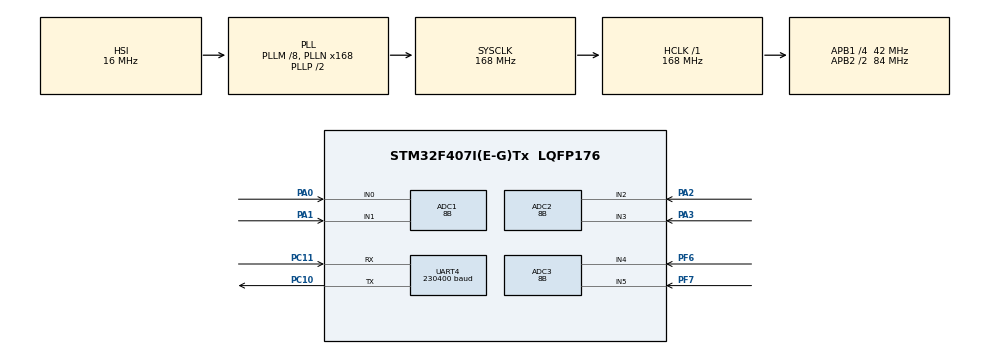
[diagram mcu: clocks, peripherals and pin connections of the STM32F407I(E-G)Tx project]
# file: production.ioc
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ADC1.Channel-0\#ChannelRegularConversion=ADC_CHANNEL_0
ADC1.Channel-1\#ChannelRegularConversion=ADC_CHANNEL_1
ADC1.ExternalTrigConv=ADC_SOFTWARE_START
ADC1.InjNumberOfConversion=0
ADC1.NbrOfConversion=2
ADC1.NbrOfConversionFlag=1
ADC1.Rank-0\#ChannelRegularConversion=1
ADC1.Rank-1\#ChannelRegularConversion=2
ADC1.Resolution=ADC_RESOLUTION_8B
ADC1.SamplingTime-0\#ChannelRegularConversion=ADC_SAMPLETIME_15CYCLES
ADC1.SamplingTime-1\#ChannelRegularConversion=ADC_SAMPLETIME_15CYCLES
ADC1.master=1
ADC2.Channel-1\#ChannelRegularConversion=ADC_CHANNEL_2
ADC2.Channel-2\#ChannelRegularConversion=ADC_CHANNEL_3
ADC2.ExternalTrigConv=ADC_SOFTWARE_START
ADC2.NbrOfConversion=2
ADC2.NbrOfConversionFlag=1
ADC2.Rank-1\#ChannelRegularConversion=1
ADC2.Rank-2\#ChannelRegularConversion=2
ADC2.Resolution=ADC_RESOLUTION_8B
ADC2.SamplingTime-1\#ChannelRegularConversion=ADC_SAMPLETIME_3CYCLES
ADC2.SamplingTime-2\#ChannelRegularConversion=ADC_SAMPLETIME_3CYCLES
ADC3.Channel-0\#ChannelRegularConversion=ADC_CHANNEL_4
ADC3.Channel-1\#ChannelRegularConversion=ADC_CHANNEL_5
ADC3.ExternalTrigConv=ADC_SOFTWARE_START
ADC3.NbrOfConversion=2
ADC3.NbrOfConversionFlag=1
ADC3.Rank-0\#ChannelRegularConversion=1
ADC3.Rank-1\#ChannelRegularConversion=2
ADC3.Resolution=ADC_RESOLUTION_8B
ADC3.SamplingTime-0\#ChannelRegularConversion=ADC_SAMPLETIME_3CYCLES
ADC3.SamplingTime-1\#ChannelRegularConversion=ADC_SAMPLETIME_3CYCLES
Dma.ADC1.0.Direction=DMA_PERIPH_TO_MEMORY
Dma.ADC1.0.FIFOMode=DMA_FIFOMODE_DISABLE
Dma.ADC1.0.Instance=DMA2_Stream0
Dma.ADC1.0.MemDataAlignment=DMA_MDATAALIGN_WORD
Dma.ADC1.0.MemInc=DMA_MINC_ENABLE
Dma.ADC1.0.Mode=DMA_CIRCULAR
Dma.ADC1.0.PeriphDataAlignment=DMA_PDATAALIGN_WORD
Dma.ADC1.0.PeriphInc=DMA_PINC_DISABLE
Dma.ADC1.0.Priority=DMA_PRIORITY_VERY_HIGH
Dma.ADC2.3.Direction=DMA_PERIPH_TO_MEMORY
Dma.ADC2.3.FIFOMode=DMA_FIFOMODE_DISABLE
Dma.ADC2.3.Instance=DMA2_Stream2
Dma.ADC2.3.MemDataAlignment=DMA_MDATAALIGN_WORD
Dma.ADC2.3.MemInc=DMA_MINC_ENABLE
Dma.ADC2.3.Mode=DMA_CIRCULAR
Dma.ADC2.3.PeriphDataAlignment=DMA_PDATAALIGN_WORD
Dma.ADC2.3.PeriphInc=DMA_PINC_DISABLE
Dma.ADC2.3.Priority=DMA_PRIORITY_VERY_HIGH
Dma.ADC3.4.Direction=DMA_PERIPH_TO_MEMORY
Dma.ADC3.4.FIFOMode=DMA_FIFOMODE_DISABLE
Dma.ADC3.4.Instance=DMA2_Stream1
Dma.ADC3.4.MemDataAlignment=DMA_MDATAALIGN_WORD
Dma.ADC3.4.MemInc=DMA_MINC_ENABLE
Dma.ADC3.4.Mode=DMA_CIRCULAR
Dma.ADC3.4.PeriphDataAlignment=DMA_PDATAALIGN_WORD
Dma.ADC3.4.PeriphInc=DMA_PINC_DISABLE
Dma.ADC3.4.Priority=DMA_PRIORITY_VERY_HIGH
Dma.Request0=ADC1
Dma.Request1=UART4_TX
Dma.Request2=UART4_RX
Dma.Request3=ADC2
Dma.Request4=ADC3
Dma.UART4_RX.2.Direction=DMA_PERIPH_TO_MEMORY
Dma.UART4_RX.2.FIFOMode=DMA_FIFOMODE_DISABLE
Dma.UART4_RX.2.Instance=DMA1_Stream2
Dma.UART4_RX.2.MemDataAlignment=DMA_MDATAALIGN_BYTE
Dma.UART4_RX.2.MemInc=DMA_MINC_ENABLE
Dma.UART4_RX.2.Mode=DMA_NORMAL
Dma.UART4_RX.2.PeriphDataAlignment=DMA_PDATAALIGN_BYTE
Dma.UART4_RX.2.PeriphInc=DMA_PINC_DISABLE
Dma.UART4_RX.2.Priority=DMA_PRIORITY_HIGH
Dma.UART4_TX.1.Direction=DMA_MEMORY_TO_PERIPH
Dma.UART4_TX.1.FIFOMode=DMA_FIFOMODE_DISABLE
Dma.UART4_TX.1.Instance=DMA1_Stream4
Dma.UART4_TX.1.MemDataAlignment=DMA_MDATAALIGN_BYTE
Dma.UART4_TX.1.MemInc=DMA_MINC_ENABLE
Dma.UART4_TX.1.Mode=DMA_CIRCULAR
Dma.UART4_TX.1.PeriphDataAlignment=DMA_PDATAALIGN_BYTE
Dma.UART4_TX.1.PeriphInc=DMA_PINC_DISABLE
Dma.UART4_TX.1.Priority=DMA_PRIORITY_HIGH
Mcu.Family=STM32F4
Mcu.Name=STM32F407I(E-G)Tx
Mcu.Package=LQFP176
NVIC.DMA1_Stream4_IRQn=true\:2\:0\:true\:false\:true\:false\:true\:true
NVIC.DMA2_Stream0_IRQn=true\:0\:0\:false\:false\:true\:false\:true\:true
NVIC.PriorityGroup=NVIC_PRIORITYGROUP_4
NVIC.TIM2_IRQn=true\:4\:0\:true\:false\:true\:true\:true\:true
PA0-WKUP.Signal=ADCx_IN0
PA1.Signal=ADCx_IN1
PA13.Mode=Serial_Wire
PA13.Signal=SYS_JTMS-SWDIO
PA14.Mode=Serial_Wire
PA14.Signal=SYS_JTCK-SWCLK
PA2.Signal=ADCx_IN2
PA3.Signal=ADCx_IN3
PC10.Mode=Asynchronous
PC10.Signal=UART4_TX
PC11.Mode=Asynchronous
PC11.Signal=UART4_RX
PF6.Mode=IN4
PF6.Signal=ADC3_IN4
PF7.Mode=IN5
PF7.Signal=ADC3_IN5
PH0-OSC_IN.Mode=HSE-External-Oscillator
PH0-OSC_IN.Signal=RCC_OSC_IN
PH1-OSC_OUT.Mode=HSE-External-Oscillator
PH1-OSC_OUT.Signal=RCC_OSC_OUT
ProjectManager.HeapSize=0x200
ProjectManager.StackSize=0x400
ProjectManager.TargetToolchain=STM32CubeIDE
RCC.48MHZClocksFreq_Value=84000000
RCC.AHBFreq_Value=168000000
RCC.APB1CLKDivider=RCC_HCLK_DIV4
RCC.APB1Freq_Value=42000000
RCC.APB1TimFreq_Value=84000000
RCC.APB2CLKDivider=RCC_HCLK_DIV2
RCC.APB2Freq_Value=84000000
RCC.APB2TimFreq_Value=168000000
RCC.CortexFreq_Value=168000000
RCC.HCLKFreq_Value=168000000
RCC.HSE_VALUE=25000000
RCC.HSI_VALUE=16000000
RCC.LSE_VALUE=32768
RCC.PLLM=8
RCC.PLLN=168
RCC.SYSCLKFreq_VALUE=168000000
RCC.SYSCLKSource=RCC_SYSCLKSOURCE_PLLCLK
RCC.VCOOutputFreq_Value=336000000
SH.ADCx_IN0.0=ADC1_IN0,IN0
SH.ADCx_IN1.0=ADC1_IN1,IN1
SH.ADCx_IN2.0=ADC2_IN2,IN2
SH.ADCx_IN3.0=ADC2_IN3,IN3
TIM1.Prescaler=167
TIM2.AutoReloadPreload=TIM_AUTORELOAD_PRELOAD_ENABLE
TIM2.Period=312
TIM2.Prescaler=168
TIM4.Prescaler=168
UART4.BaudRate=230400
UART4.VirtualMode=Asynchronous
VP_TIM1_VS_ClockSourceINT.Mode=Internal
VP_TIM2_VS_ClockSourceINT.Mode=Internal
VP_TIM4_VS_ClockSourceINT.Mode=Internal
board=custom

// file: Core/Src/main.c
/* USER CODE BEGIN Header */
/*
 * timer1 for delay us
 * timer2 for sampling
 * */
/* USER CODE END Header */
#include "main.h"

/* USER CODE BEGIN Includes */
#include "arm_math.h"
#include "math.h"
#include <stdbool.h>
#include "FLASH_SECTOR_F4.h"
#include "stdio.h"
#include <stdlib.h>
/* USER CODE END Includes */

/* USER CODE BEGIN PD */
#define ARM_MATH_CM4

#define SAMPLE_BUFFER_LENGTH        64
#define SAMPLE_BUFFER_LENGTH_HALF   (SAMPLE_BUFFER_LENGTH/2)
#define CURRENT_1 ADC_CHANNEL_0
#define CURRENT_2 ADC_CHANNEL_1
#define CURRENT_3 ADC_CHANNEL_2

#define VOLTAGE_1 ADC_CHANNEL_3
#define VOLTAGE_2 ADC_CHANNEL_4
#define VOLTAGE_3 ADC_CHANNEL_5

#define TEMP ADC_CHANNEL_6
#define ERTEASH ADC_CHANNEL_7

#define approximation 1e-5
// fft
#define fftElementSendCount 50
#define  instantaneousElementSendCount 32
#define data_unit_size 7 // xxx.xx,

#define FlashAddress 0x080FAEC0
#define ratedVoltageAddress  FlashAddress+(0*0x32)
#define ratedCurrentAddress FlashAddress+(1*0x32)

/* USER CODE END PD */

ADC_HandleTypeDef hadc1;
ADC_HandleTypeDef hadc2;
ADC_HandleTypeDef hadc3;
DMA_HandleTypeDef hdma_adc1;
DMA_HandleTypeDef hdma_adc2;
DMA_HandleTypeDef hdma_adc3;

TIM_HandleTypeDef htim1;
TIM_HandleTypeDef htim2;
TIM_HandleTypeDef htim4;

UART_HandleTypeDef huart4;
DMA_HandleTypeDef hdma_uart4_tx;
DMA_HandleTypeDef hdma_uart4_rx;

/* USER CODE BEGIN PV */
int elementNumber = 0;

struct adcValue {
    float instantaneousValues[SAMPLE_BUFFER_LENGTH];
    char instantaneousValuesCharArray[SAMPLE_BUFFER_LENGTH];
    float fft[SAMPLE_BUFFER_LENGTH_HALF];
    char fft_char_array[(fftElementSendCount * data_unit_size) + 2]; // [fft_array]
    float rms;
    float thd;
};

struct errorsStruct {
    bool voltageRmsError;
    int voltageRmsTimeout;

    bool currentRmsError;
    int currentRmsTimeout;

    bool voltageHarmonicOverLimit;
    char errorPhase[2];
} errors;
struct errorsStruct errors = {false, 0,
                              false, 0,
                              false};

struct adcValue c1, c2, c3, v1, v2, v3;
uint32_t adcResult1[2], adcResult2[2], adcResult3[2];

float settings[100];

uint8_t Rx_data[30] = {0};
uint8_t MESSAGE_LEN = sizeof(Rx_data);
bool new_request = false;

float fft_output[SAMPLE_BUFFER_LENGTH];
uint8_t ifftFlag = 0;

uint32_t time1, time2, result;

/* USER CODE END PV */

void SystemClock_Config(void);

static void MX_GPIO_Init(void);

static void MX_DMA_Init(void);

static void MX_ADC1_Init(void);

static void MX_TIM1_Init(void);

static void MX_TIM2_Init(void);

static void MX_UART4_Init(void);

static void MX_ADC2_Init(void);

static void MX_ADC3_Init(void);

static void MX_TIM4_Init(void);

/* USER CODE BEGIN 0 */

//utils
void readParamsFromMemory() {
    for (int i = 0; i < 100; ++i) {
        settings[i] = Flash_Read_NUM(FlashAddress + (i * 0x32));
    }
}

void writeParamsToMemory() {
    Flash_Write_NUM(ratedVoltageAddress, settings[0]);
    Flash_Write_NUM(ratedCurrentAddress, settings[1]);
}

// serial
void HAL_UART_RxCpltCallback(UART_HandleTypeDef *huart) {
    HAL_UART_Receive_IT(&huart4, Rx_data, MESSAGE_LEN);
    new_request = true;
}

void HAL_UART_TxCpltCallback(UART_HandleTypeDef *huart) {
    HAL_UART_DMAStop(&huart4);
}

bool str_cmp_rx_data(char str2[]) {
    int size = sizeof(str2);
    for (int i = 0; i < size; i++) {
        if (Rx_data[i] != str2[i]) { return false; };
    }
    return true;
}

void floatArrToList(char *dest, float *numbers, int array_size, int step) {
    char tempStr[9] = {"\0"};
    int usedLength = 0;
    int tempLength;
    for (int i = 0; i < array_size; i += step) {
        tempLength = sprintf(tempStr, "%.2f,", numbers[i]);
        sprintf(dest + usedLength, "%s", tempStr);
        usedLength = usedLength + tempLength;
    }
    dest[usedLength - 1] = '\0';
}

void floatArrToListInstantaneousValues() {
    floatArrToList(c1.instantaneousValuesCharArray, c1.instantaneousValues, SAMPLE_BUFFER_LENGTH,
                   SAMPLE_BUFFER_LENGTH / instantaneousElementSendCount);
    floatArrToList(c2.instantaneousValuesCharArray, c2.instantaneousValues, SAMPLE_BUFFER_LENGTH,
                   SAMPLE_BUFFER_LENGTH / instantaneousElementSendCount);
    floatArrToList(c3.instantaneousValuesCharArray, c3.instantaneousValues, SAMPLE_BUFFER_LENGTH,
                   SAMPLE_BUFFER_LENGTH / instantaneousElementSendCount);
    floatArrToList(v1.instantaneousValuesCharArray, v1.instantaneousValues, SAMPLE_BUFFER_LENGTH,
                   SAMPLE_BUFFER_LENGTH / instantaneousElementSendCount);
    floatArrToList(v2.instantaneousValuesCharArray, v2.instantaneousValues, SAMPLE_BUFFER_LENGTH,
                   SAMPLE_BUFFER_LENGTH / instantaneousElementSendCount);
    floatArrToList(v3.instantaneousValuesCharArray, v3.instantaneousValues, SAMPLE_BUFFER_LENGTH,
                   SAMPLE_BUFFER_LENGTH / instantaneousElementSendCount);
}

void floatArrToListFft() {
    floatArrToList(c1.fft_char_array, c1.fft, fftElementSendCount, 1);
    floatArrToList(c2.fft_char_array, c2.fft, fftElementSendCount, 1);
    floatArrToList(c3.fft_char_array, c3.fft, fftElementSendCount, 1);
    floatArrToList(v1.fft_char_array, v1.fft, fftElementSendCount, 1);
    floatArrToList(v2.fft_char_array, v2.fft, fftElementSendCount, 1);
    floatArrToList(v3.fft_char_array, v3.fft, fftElementSendCount, 1);
}

void stringToArrayReceivedSettings() {

    char *token = strtok(Rx_data, ","); //remove saveSettings
    token = strtok(NULL, ","); // number1 ...
    int i = 0;
    while (token[i] != NULL) {
        settings[i] = atof(token);
        token = strtok(NULL, ",");
        i++;
    }
}

void sendRealTimeData() {
    char buffer[5000] = {'\0'};
    char *fromat = "{"
                   "\"type\":\"RealTimeData\","
                   "\"current\":"
                   "{\"a\":[%s],"
                   "\"b\":[%s],"
                   "\"c\":[%s]},"
                   "\"voltage\":"
                   "{\"a\":[%s],"
                   "\"b\":[%s],"
                   "\"c\":[%s]}"
                   "}\r\n";
    snprintf(buffer, sizeof(buffer), fromat,
             c1.instantaneousValuesCharArray,
             c2.instantaneousValuesCharArray,
             c3.instantaneousValuesCharArray,
             v1.instantaneousValuesCharArray,
             v2.instantaneousValuesCharArray,
             v3.instantaneousValuesCharArray
    );
    HAL_UART_Transmit_DMA(&huart4, buffer, sizeof(buffer));
}

static void send_serial() {
     uint8_t buffer[5000] = {'\0'};
    memset(buffer, ' ', sizeof(buffer));
    if (str_cmp_rx_data("send_data")) {
        static char *fromat = "{"
                              "\"type\":\"calculatedData\","
                              "\"current\":"
                              "{\"a\":{\"rms\":%.2f,\"thd\":%.2f,\"fft\":[%s]},"
                              "\"b\":{\"rms\":%.2f,\"thd\":%.2f,\"fft\":[%s]},"
                              "\"c\":{\"rms\":%.2f,\"thd\":%.2f,\"fft\":[%s]}},"
                              "\"voltage\":"
                              "{\"a\":{\"rms\":%.2f,\"thd\":%.2f,\"fft\":[%s]},"
                              "\"b\":{\"rms\":%.2f,\"thd\":%.2f,\"fft\":[%s]},"
                              "\"c\":{\"rms\":%.2f,\"thd\":%.2f,\"fft\":[%s]}}"
                              "}\r\n";
        snprintf(buffer, sizeof(buffer), fromat,
                /*rms-thd-fft*/
                 c1.rms, c1.thd, c1.fft_char_array,
                 c2.rms, c2.thd, c2.fft_char_array,
                 c3.rms, c3.thd, c3.fft_char_array,
                 v1.rms, v1.thd, v1.fft_char_array,
                 v2.rms, v2.thd, v2.fft_char_array,
                 v3.rms, v3.thd, v3.fft_char_array);
    } else if (str_cmp_rx_data("saveSettings")) {
        stringToArrayReceivedSettings();
        writeParamsToMemory();
        strcpy(buffer, "OK\r\n");
    } else if (str_cmp_rx_data("ping")) {
        strcpy(buffer, "pong\r\n");
    } else {
        strcpy(buffer, "404\r\n");
    }

    HAL_UART_Transmit_DMA(&huart4, buffer, sizeof(buffer));
    new_request = false;
}

// adc
void selectChannel(uint32_t ch) {
    ADC_ChannelConfTypeDef conf = {
            .Channel = ch,
            .Rank = 1,
            .SamplingTime = ADC_SAMPLETIME_15CYCLES,
    };
    if (HAL_ADC_ConfigChannel(&hadc1, &conf) != HAL_OK) {
        Error_Handler();
    }
}

void HAL_ADC_ConvCpltCallback(ADC_HandleTypeDef *hadc) {

}

void convertAdcValue(uint32_t adcResult, float *element) {
    *element = adcResult * 3.3 / 255;
}

//timer
void HAL_TIM_PeriodElapsedCallback(TIM_HandleTypeDef *htim) {
    HAL_ADC_Start_DMA(&hadc1, adcResult1, 2);
    HAL_ADC_Start_DMA(&hadc2, adcResult2, 2);
    HAL_ADC_Start_DMA(&hadc3, adcResult3, 2);
    convertAdcValue(adcResult1[0], &c1.instantaneousValues[elementNumber]);
    convertAdcValue(adcResult2[0], &c2.instantaneousValues[elementNumber]);
    convertAdcValue(adcResult3[0], &c3.instantaneousValues[elementNumber]);
    convertAdcValue(adcResult1[1], &v1.instantaneousValues[elementNumber]);
    convertAdcValue(adcResult2[1], &v2.instantaneousValues[elementNumber]);
    convertAdcValue(adcResult3[1], &v3.instantaneousValues[elementNumber]);
    elementNumber++;
    if (elementNumber >= SAMPLE_BUFFER_LENGTH) {
        elementNumber = 0;
    }
}

// calculation
void doFft(float input[], float output[]) {
    arm_status status;
    arm_rfft_fast_instance_f32 fft;
    status = arm_rfft_fast_init_f32(&fft, SAMPLE_BUFFER_LENGTH);
    arm_rfft_fast_f32(&fft, input, fft_output, ifftFlag);
    arm_cmplx_mag_f32(fft_output, output, SAMPLE_BUFFER_LENGTH_HALF);
    for (int i = 0; i < SAMPLE_BUFFER_LENGTH_HALF; i++) {
        output[i] = output[i] / SAMPLE_BUFFER_LENGTH_HALF;
        if (output[i] < approximation)output[i] = 0;
    }
}

void doThd(float input[], float output) {
    float temp = 0;
    for (int i = 2; i < SAMPLE_BUFFER_LENGTH_HALF; i++) {
        temp = temp + (pow(input[i], 2));
    }
    output = sqrt(temp) * 100 / input[1];
}

void calculation() {
    // rms
    arm_rms_f32(c1.instantaneousValues, SAMPLE_BUFFER_LENGTH, &c1.rms);
    arm_rms_f32(c2.instantaneousValues, SAMPLE_BUFFER_LENGTH, &c2.rms);
    arm_rms_f32(c3.instantaneousValues, SAMPLE_BUFFER_LENGTH, &c3.rms);

    arm_rms_f32(v1.instantaneousValues, SAMPLE_BUFFER_LENGTH, &v1.rms);
    arm_rms_f32(v2.instantaneousValues, SAMPLE_BUFFER_LENGTH, &v2.rms);
    arm_rms_f32(v3.instantaneousValues, SAMPLE_BUFFER_LENGTH, &v3.rms);
    // fft
    doFft(c1.instantaneousValues, c1.fft);
    doFft(c2.instantaneousValues, c2.fft);
    doFft(c3.instantaneousValues, c3.fft);

    doFft(v1.instantaneousValues, v1.fft);
    doFft(v2.instantaneousValues, v2.fft);
    doFft(v3.instantaneousValues, v3.fft);
    // thd
    doThd(c1.fft, c1.thd);
    doThd(c2.fft, c2.thd);
    doThd(c3.fft, c3.thd);

    doThd(v1.fft, v1.thd);
    doThd(v2.fft, v2.thd);
    doThd(v3.fft, v3.thd);
}

void currentRmsControl() {}

void voltageRmsControl() {}

void voltageHarmonicControl() {}

void control() {
    voltageRmsControl();
    currentRmsControl();
    voltageHarmonicControl();
}

/* USER CODE END 0 */

int main(void) {

    /* MCU Configuration--------------------------------------------------------*/

    /* Reset of all peripherals, Initializes the Flash interface and the Systick. */
    HAL_Init();

    /* Configure the system clock */
    SystemClock_Config();

    /* Initialize all configured peripherals */
    MX_GPIO_Init();
    MX_DMA_Init();
    MX_ADC1_Init();
    MX_TIM1_Init();
    MX_TIM2_Init();
    MX_UART4_Init();
    MX_ADC2_Init();
    MX_ADC3_Init();
    MX_TIM4_Init();
    /* USER CODE BEGIN 2 */
    //start timer,uart and interupts
    HAL_UART_Receive_IT(&huart4, Rx_data, MESSAGE_LEN);
    readParamsFromMemory();
    HAL_TIM_Base_Start(&htim1);
    HAL_TIM_Base_Start_IT(&htim2);
    /* USER CODE END 2 */

    /* Infinite loop */
    while (1) {

        /* USER CODE BEGIN 3 */
        HAL_UART_Receive_IT(&huart4, Rx_data, MESSAGE_LEN);
//        TIM4->CNT = 0;
//        HAL_TIM_Base_Start(&htim4);
//        time1 = __HAL_TIM_GET_COUNTER(&htim4);
        floatArrToListInstantaneousValues();
        sendRealTimeData();
//        time2 = __HAL_TIM_GET_COUNTER(&htim4);
//        result = time2 - time1;
        calculation();
        control();
        floatArrToListFft();
        if (new_request) {
            send_serial();
        }
//        str_append_float(&c1);
        HAL_UART_AbortReceive_IT(&huart4);
        HAL_TIM_Base_Start_IT(&htim2);
    }
    /* USER CODE END 3 */
}

void SystemClock_Config(void) {
    RCC_OscInitTypeDef RCC_OscInitStruct = {0};
    RCC_ClkInitTypeDef RCC_ClkInitStruct = {0};

    /** Configure the main internal regulator output voltage
    */
    __HAL_RCC_PWR_CLK_ENABLE();
    __HAL_PWR_VOLTAGESCALING_CONFIG(PWR_REGULATOR_VOLTAGE_SCALE1);

    /** Initializes the RCC Oscillators according to the specified parameters
    * in the RCC_OscInitTypeDef structure.
    */
    RCC_OscInitStruct.OscillatorType = RCC_OSCILLATORTYPE_HSI;
    RCC_OscInitStruct.HSIState = RCC_HSI_ON;
    RCC_OscInitStruct.HSICalibrationValue = RCC_HSICALIBRATION_DEFAULT;
    RCC_OscInitStruct.PLL.PLLState = RCC_PLL_ON;
    RCC_OscInitStruct.PLL.PLLSource = RCC_PLLSOURCE_HSI;
    RCC_OscInitStruct.PLL.PLLM = 8;
    RCC_OscInitStruct.PLL.PLLN = 168;
    RCC_OscInitStruct.PLL.PLLP = RCC_PLLP_DIV2;
    RCC_OscInitStruct.PLL.PLLQ = 4;
    if (HAL_RCC_OscConfig(&RCC_OscInitStruct) != HAL_OK) {
        Error_Handler();
    }

    /** Initializes the CPU, AHB and APB buses clocks
    */
    RCC_ClkInitStruct.ClockType = RCC_CLOCKTYPE_HCLK | RCC_CLOCKTYPE_SYSCLK
                                  | RCC_CLOCKTYPE_PCLK1 | RCC_CLOCKTYPE_PCLK2;
    RCC_ClkInitStruct.SYSCLKSource = RCC_SYSCLKSOURCE_PLLCLK;
    RCC_ClkInitStruct.AHBCLKDivider = RCC_SYSCLK_DIV1;
    RCC_ClkInitStruct.APB1CLKDivider = RCC_HCLK_DIV4;
    RCC_ClkInitStruct.APB2CLKDivider = RCC_HCLK_DIV2;

    if (HAL_RCC_ClockConfig(&RCC_ClkInitStruct, FLASH_LATENCY_5) != HAL_OK) {
        Error_Handler();
    }
}

static void MX_ADC1_Init(void) {

    ADC_ChannelConfTypeDef sConfig = {0};

    /** Configure the global features of the ADC (Clock, Resolution, Data Alignment and number of conversion)
    */
    hadc1.Instance = ADC1;
    hadc1.Init.ClockPrescaler = ADC_CLOCK_SYNC_PCLK_DIV4;
    hadc1.Init.Resolution = ADC_RESOLUTION_8B;
    hadc1.Init.ScanConvMode = ENABLE;
    hadc1.Init.ContinuousConvMode = DISABLE;
    hadc1.Init.DiscontinuousConvMode = DISABLE;
    hadc1.Init.ExternalTrigConvEdge = ADC_EXTERNALTRIGCONVEDGE_NONE;
    hadc1.Init.ExternalTrigConv = ADC_SOFTWARE_START;
    hadc1.Init.DataAlign = ADC_DATAALIGN_RIGHT;
    hadc1.Init.NbrOfConversion = 2;
    hadc1.Init.DMAContinuousRequests = DISABLE;
    hadc1.Init.EOCSelection = ADC_EOC_SINGLE_CONV;
    if (HAL_ADC_Init(&hadc1) != HAL_OK) {
        Error_Handler();
    }

    /** Configure for the selected ADC regular channel its corresponding rank in the sequencer and its sample time.
    */
    sConfig.Channel = ADC_CHANNEL_0;
    sConfig.Rank = 1;
    sConfig.SamplingTime = ADC_SAMPLETIME_15CYCLES;
    if (HAL_ADC_ConfigChannel(&hadc1, &sConfig) != HAL_OK) {
        Error_Handler();
    }

    /** Configure for the selected ADC regular channel its corresponding rank in the sequencer and its sample time.
    */
    sConfig.Channel = ADC_CHANNEL_1;
    sConfig.Rank = 2;
    if (HAL_ADC_ConfigChannel(&hadc1, &sConfig) != HAL_OK) {
        Error_Handler();
    }

}

static void MX_ADC2_Init(void) {

    ADC_ChannelConfTypeDef sConfig = {0};

    /** Configure the global features of the ADC (Clock, Resolution, Data Alignment and number of conversion)
    */
    hadc2.Instance = ADC2;
    hadc2.Init.ClockPrescaler = ADC_CLOCK_SYNC_PCLK_DIV4;
    hadc2.Init.Resolution = ADC_RESOLUTION_8B;
    hadc2.Init.ScanConvMode = ENABLE;
    hadc2.Init.ContinuousConvMode = DISABLE;
    hadc2.Init.DiscontinuousConvMode = DISABLE;
    hadc2.Init.ExternalTrigConvEdge = ADC_EXTERNALTRIGCONVEDGE_NONE;
    hadc2.Init.ExternalTrigConv = ADC_SOFTWARE_START;
    hadc2.Init.DataAlign = ADC_DATAALIGN_RIGHT;
    hadc2.Init.NbrOfConversion = 2;
    hadc2.Init.DMAContinuousRequests = DISABLE;
    hadc2.Init.EOCSelection = ADC_EOC_SINGLE_CONV;
    if (HAL_ADC_Init(&hadc2) != HAL_OK) {
        Error_Handler();
    }

    /** Configure for the selected ADC regular channel its corresponding rank in the sequencer and its sample time.
    */
    sConfig.Channel = ADC_CHANNEL_2;
    sConfig.Rank = 1;
    sConfig.SamplingTime = ADC_SAMPLETIME_3CYCLES;
    if (HAL_ADC_ConfigChannel(&hadc2, &sConfig) != HAL_OK) {
        Error_Handler();
    }

    /** Configure for the selected ADC regular channel its corresponding rank in the sequencer and its sample time.
    */
    sConfig.Channel = ADC_CHANNEL_3;
    sConfig.Rank = 2;
    if (HAL_ADC_ConfigChannel(&hadc2, &sConfig) != HAL_OK) {
        Error_Handler();
    }

}

static void MX_ADC3_Init(void) {

    ADC_ChannelConfTypeDef sConfig = {0};

    /** Configure the global features of the ADC (Clock, Resolution, Data Alignment and number of conversion)
    */
    hadc3.Instance = ADC3;
    hadc3.Init.ClockPrescaler = ADC_CLOCK_SYNC_PCLK_DIV4;
    hadc3.Init.Resolution = ADC_RESOLUTION_8B;
    hadc3.Init.ScanConvMode = ENABLE;
    hadc3.Init.ContinuousConvMode = DISABLE;
    hadc3.Init.DiscontinuousConvMode = DISABLE;
    hadc3.Init.ExternalTrigConvEdge = ADC_EXTERNALTRIGCONVEDGE_NONE;
    hadc3.Init.ExternalTrigConv = ADC_SOFTWARE_START;
    hadc3.Init.DataAlign = ADC_DATAALIGN_RIGHT;
    hadc3.Init.NbrOfConversion = 2;
    hadc3.Init.DMAContinuousRequests = DISABLE;
    hadc3.Init.EOCSelection = ADC_EOC_SINGLE_CONV;
    if (HAL_ADC_Init(&hadc3) != HAL_OK) {
        Error_Handler();
    }

    /** Configure for the selected ADC regular channel its corresponding rank in the sequencer and its sample time.
    */
    sConfig.Channel = ADC_CHANNEL_4;
    sConfig.Rank = 1;
    sConfig.SamplingTime = ADC_SAMPLETIME_3CYCLES;
    if (HAL_ADC_ConfigChannel(&hadc3, &sConfig) != HAL_OK) {
        Error_Handler();
    }

    /** Configure for the selected ADC regular channel its corresponding rank in the sequencer and its sample time.
    */
    sConfig.Channel = ADC_CHANNEL_5;
    sConfig.Rank = 2;
    if (HAL_ADC_ConfigChannel(&hadc3, &sConfig) != HAL_OK) {
        Error_Handler();
    }

}

static void MX_TIM1_Init(void) {

    TIM_ClockConfigTypeDef sClockSourceConfig = {0};
    TIM_MasterConfigTypeDef sMasterConfig = {0};

    htim1.Instance = TIM1;
    htim1.Init.Prescaler = 167;
    htim1.Init.CounterMode = TIM_COUNTERMODE_UP;
    htim1.Init.Period = 65535;
    htim1.Init.ClockDivision = TIM_CLOCKDIVISION_DIV1;
    htim1.Init.RepetitionCounter = 0;
    htim1.Init.AutoReloadPreload = TIM_AUTORELOAD_PRELOAD_DISABLE;
    if (HAL_TIM_Base_Init(&htim1) != HAL_OK) {
        Error_Handler();
    }
    sClockSourceConfig.ClockSource = TIM_CLOCKSOURCE_INTERNAL;
    if (HAL_TIM_ConfigClockSource(&htim1, &sClockSourceConfig) != HAL_OK) {
        Error_Handler();
    }
    sMasterConfig.MasterOutputTrigger = TIM_TRGO_RESET;
    sMasterConfig.MasterSlaveMode = TIM_MASTERSLAVEMODE_DISABLE;
    if (HAL_TIMEx_MasterConfigSynchronization(&htim1, &sMasterConfig) != HAL_OK) {
        Error_Handler();
    }

}

static void MX_TIM2_Init(void) {

    TIM_ClockConfigTypeDef sClockSourceConfig = {0};
    TIM_MasterConfigTypeDef sMasterConfig = {0};

    htim2.Instance = TIM2;
    htim2.Init.Prescaler = 168;
    htim2.Init.CounterMode = TIM_COUNTERMODE_UP;
    htim2.Init.Period = 312;
    htim2.Init.ClockDivision = TIM_CLOCKDIVISION_DIV1;
    htim2.Init.AutoReloadPreload = TIM_AUTORELOAD_PRELOAD_ENABLE;
    if (HAL_TIM_Base_Init(&htim2) != HAL_OK) {
        Error_Handler();
    }
    sClockSourceConfig.ClockSource = TIM_CLOCKSOURCE_INTERNAL;
    if (HAL_TIM_ConfigClockSource(&htim2, &sClockSourceConfig) != HAL_OK) {
        Error_Handler();
    }
    sMasterConfig.MasterOutputTrigger = TIM_TRGO_RESET;
    sMasterConfig.MasterSlaveMode = TIM_MASTERSLAVEMODE_DISABLE;
    if (HAL_TIMEx_MasterConfigSynchronization(&htim2, &sMasterConfig) != HAL_OK) {
        Error_Handler();
    }

}

static void MX_TIM4_Init(void) {

    TIM_ClockConfigTypeDef sClockSourceConfig = {0};
    TIM_MasterConfigTypeDef sMasterConfig = {0};

    htim4.Instance = TIM4;
    htim4.Init.Prescaler = 168;
    htim4.Init.CounterMode = TIM_COUNTERMODE_UP;
    htim4.Init.Period = 65535;
    htim4.Init.ClockDivision = TIM_CLOCKDIVISION_DIV1;
    htim4.Init.AutoReloadPreload = TIM_AUTORELOAD_PRELOAD_DISABLE;
    if (HAL_TIM_Base_Init(&htim4) != HAL_OK) {
        Error_Handler();
    }
    sClockSourceConfig.ClockSource = TIM_CLOCKSOURCE_INTERNAL;
    if (HAL_TIM_ConfigClockSource(&htim4, &sClockSourceConfig) != HAL_OK) {
        Error_Handler();
    }
    sMasterConfig.MasterOutputTrigger = TIM_TRGO_RESET;
    sMasterConfig.MasterSlaveMode = TIM_MASTERSLAVEMODE_DISABLE;
    if (HAL_TIMEx_MasterConfigSynchronization(&htim4, &sMasterConfig) != HAL_OK) {
        Error_Handler();
    }

}

static void MX_UART4_Init(void) {

    huart4.Instance = UART4;
    huart4.Init.BaudRate = 230400;
    huart4.Init.WordLength = UART_WORDLENGTH_8B;
    huart4.Init.StopBits = UART_STOPBITS_1;
    huart4.Init.Parity = UART_PARITY_NONE;
    huart4.Init.Mode = UART_MODE_TX_RX;
    huart4.Init.HwFlowCtl = UART_HWCONTROL_NONE;
    huart4.Init.OverSampling = UART_OVERSAMPLING_16;
    if (HAL_UART_Init(&huart4) != HAL_OK) {
        Error_Handler();
    }

}

static void MX_DMA_Init(void) {

    /* DMA controller clock enable */
    __HAL_RCC_DMA2_CLK_ENABLE();
    __HAL_RCC_DMA1_CLK_ENABLE();

    /* DMA interrupt init */
    /* DMA1_Stream4_IRQn interrupt configuration */
    HAL_NVIC_SetPriority(DMA1_Stream4_IRQn, 2, 0);
    HAL_NVIC_EnableIRQ(DMA1_Stream4_IRQn);
    /* DMA2_Stream0_IRQn interrupt configuration */
    HAL_NVIC_SetPriority(DMA2_Stream0_IRQn, 0, 0);
    HAL_NVIC_EnableIRQ(DMA2_Stream0_IRQn);

}

static void MX_GPIO_Init(void) {

    /* GPIO Ports Clock Enable */
    __HAL_RCC_GPIOF_CLK_ENABLE();
    __HAL_RCC_GPIOH_CLK_ENABLE();
    __HAL_RCC_GPIOA_CLK_ENABLE();
    __HAL_RCC_GPIOC_CLK_ENABLE();

}

void Error_Handler(void) {
    __disable_irq();
    while (1) {
    }
}
